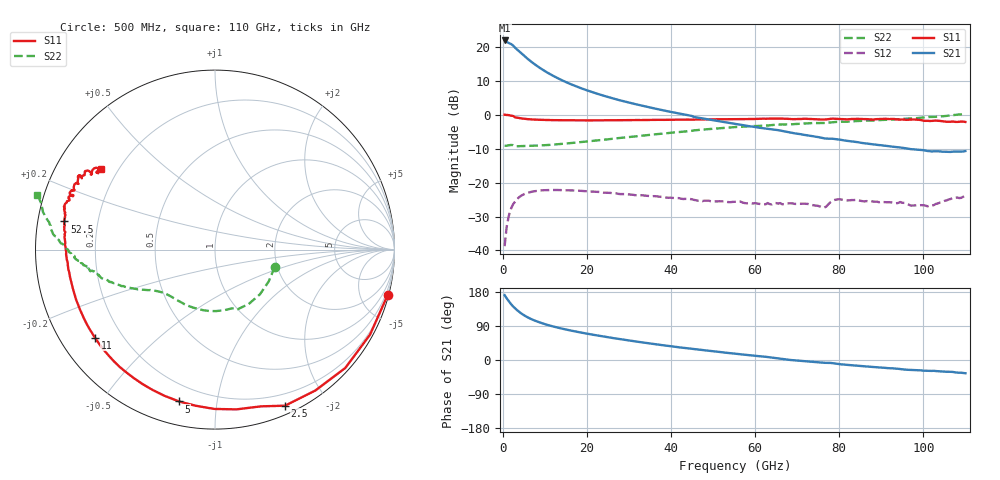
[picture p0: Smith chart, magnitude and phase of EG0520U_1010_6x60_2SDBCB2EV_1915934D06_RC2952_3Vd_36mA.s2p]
!File name = EG0520U_1010_6x60_2SDBCB2EV_1915934D06_RC2952_3Vd_36mA.s2p
!Base file name = EG0520U_1010_6x60_2SDBCB2EV_1915934D06_RC2952
!Date = 8/23/2019
!Time = 1:15 PM
!Test duration(min) = 0.15
!Test = S-Parameters
!MPTS version = 8.91.5
!State File = C:\Data\PNA\20190821205423\S-Parameters_2019-08-23.sta
!Cal File =
!ComputerName = CMPE-LAB-6
!Comments =
!Attenuation = 0
!Z0 = 50
!Input Power(dBm) = -13.00
!Device ID = EG0520U_1010_6x60_2SDBCB2EV
!Row = 29
!Column = 52
!Technology = QPHT09
!Lot/Wafer = 1915934D06
!Gate Size = 360
!Mask = EG0520
!Cal Standards = GaAs BCB
!Cal Kit = EG2306
!Job Number = 20190821205423
!Device Type = FET
!set_Vg(v) = -1.500
!set_Vd(v) = 3.000
!set_Vd(mA) = 36.000
!file_name = EG0520U_1010_6x60_2SDBCB2EV_1915934D06_RC2952_3Vd_36mA.s2p
!Vd(V) = 3.000
!Vd(mA) = 36.181
!Vg(V) = -0.504
!Vg(mA) = -0.002
# GHz  S  DB  R  50
!%	Freq(GHz)  s11(dB)  s11(deg)  s21(dB)  s21(deg)  s12(dB)  s12(deg)  s22(dB)  s22(deg)
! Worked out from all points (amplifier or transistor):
!   220 points, 500 MHz to 110 GHz, reference 50 ohm
!   highest |S21| = 21.8 dB at 500 MHz (marker M1)
!   |S21| within 3 dB of that: start of sweep to 3.769 GHz
!   unconditionally stable (mu >= 1): 32.7 GHz to 102.9 GHz
!   at 18.5 GHz: K = 0.54, MSG = 15.1 dB, |S12| = -22.4 dB
!   at 55.5 GHz: K = 1.50, MAG = 7.3 dB, |S12| = -25.7 dB
!   at 110 GHz: K = -1.61, MSG = 6.5 dB, |S12| = -23.8 dB
!   S11 on the Smith chart (normalised r, x): 500 MHz: 0.15, -7.82; 2.5 GHz: 0.08, -1.54; 5 GHz: 0.11, -0.79; 11 GHz: 0.10, -0.32; 52.5 GHz: 0.08, +0.09; 110 GHz: 0.14, +0.31
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0.5  -0.04 -14.6  21.80 171.1  -38.73 81.2  -9.19 -16.1
1  -0.13 -28.8  21.39 162.6  -32.95 73.7  -9.17 -30.8
1.5  -0.17 -42.2  21.04 155.3  -29.80 66.3  -9.04 -44.8
2  -0.32 -54.5  20.77 147.9  -27.79 59.4  -8.95 -58.3
2.5  -0.42 -65.9  20.34 141.4  -26.41 53.6  -8.99 -69.1
3.5  -0.93 -82.4  19.10 131.2  -24.84 44.9  -9.33 -81.9
4.5  -1.14 -97.1  17.98 122.5  -23.84 37.4  -9.28 -95.5
5  -1.22 -103.3  17.43 118.9  -23.50 34.3  -9.27 -100.9
6  -1.35 -113.8  16.37 112.4  -23.02 29.2  -9.24 -109.9
7.5  -1.48 -125.8  14.91 104.7  -22.59 23.3  -9.15 -119.6
9  -1.55 -134.6  13.62 98.6  -22.33 18.9  -9.09 -125.8
11  -1.62 -143.7  12.10 91.6  -22.21 14.2  -8.95 -132.3
14.5  -1.69 -154.8  9.88 81.9  -22.26 8.6  -8.59 -139.1
19  -1.71 -163.9  7.59 71.7  -22.49 3.9  -8.06 -144.2
26.5  -1.68 -173.6  4.66 57.5  -23.13 -0.1  -7.07 -149.5
37  -1.55 178.2  1.55 40.6  -24.13 -1.3  -5.73 -155.6
52.5  -1.37 169.4  -2.19 19.9  -25.52 2.2  -3.96 -164.8
55.5  -1.35 167.7  -2.80 16.4  -25.67 1.7  -3.66 -166.4
73.5  -1.33 159.6  -6.34 -5.1  -26.60 1.2  -2.49 -174.3
92  -1.34 151.3  -9.35 -21.7  -25.80 -9.5  -1.51 178.4
101  -1.85 148.9  -10.72 -28.6  -26.99 -9.6  -0.77 173.5
110  -2.18 144.8  -10.74 -34.9  -23.79 -10.7  0.33 162.8
